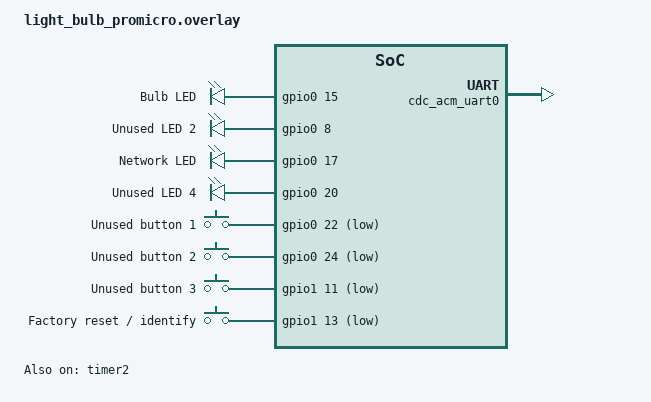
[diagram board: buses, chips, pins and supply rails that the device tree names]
/ {
	chosen {
		zephyr,console = &cdc_acm_uart0;
		ncs,zigbee-timer = &timer2;
	};

	leds {
		compatible = "gpio-leds";

		led0: led_0 {
			gpios = <&gpio0 15 GPIO_ACTIVE_HIGH>;
			label = "Bulb LED";
		};

		led1: led_1 {
			gpios = <&gpio0 8 GPIO_ACTIVE_HIGH>;
			label = "Unused LED 2";
		};

		led2: led_2 {
			gpios = <&gpio0 17 GPIO_ACTIVE_HIGH>;
			label = "Network LED";
		};

		led3: led_3 {
			gpios = <&gpio0 20 GPIO_ACTIVE_HIGH>;
			label = "Unused LED 4";
		};

	};

	buttons {
		compatible = "gpio-keys";

		button0: button_0 {
			gpios = <&gpio0 22 (GPIO_PULL_UP | GPIO_ACTIVE_LOW)>;
			label = "Unused button 1";
			zephyr,code = <0>;
		};

		button1: button_1 {
			gpios = <&gpio0 24 (GPIO_PULL_UP | GPIO_ACTIVE_LOW)>;
			label = "Unused button 2";
			zephyr,code = <1>;
		};

		button2: button_2 {
			gpios = <&gpio1 11 (GPIO_PULL_UP | GPIO_ACTIVE_LOW)>;
			label = "Unused button 3";
			zephyr,code = <2>;
		};

		button3: button_3 {
			gpios = <&gpio1 13 (GPIO_PULL_UP | GPIO_ACTIVE_LOW)>;
			label = "Factory reset / identify";
			zephyr,code = <3>;
		};
	};

};

&timer2 {
	status = "okay";
};

&zephyr_udc0 {
	cdc_acm_uart0: cdc_acm_uart0 {
		compatible = "zephyr,cdc-acm-uart";
		label = "CDC_ACM_0";
	};
};
